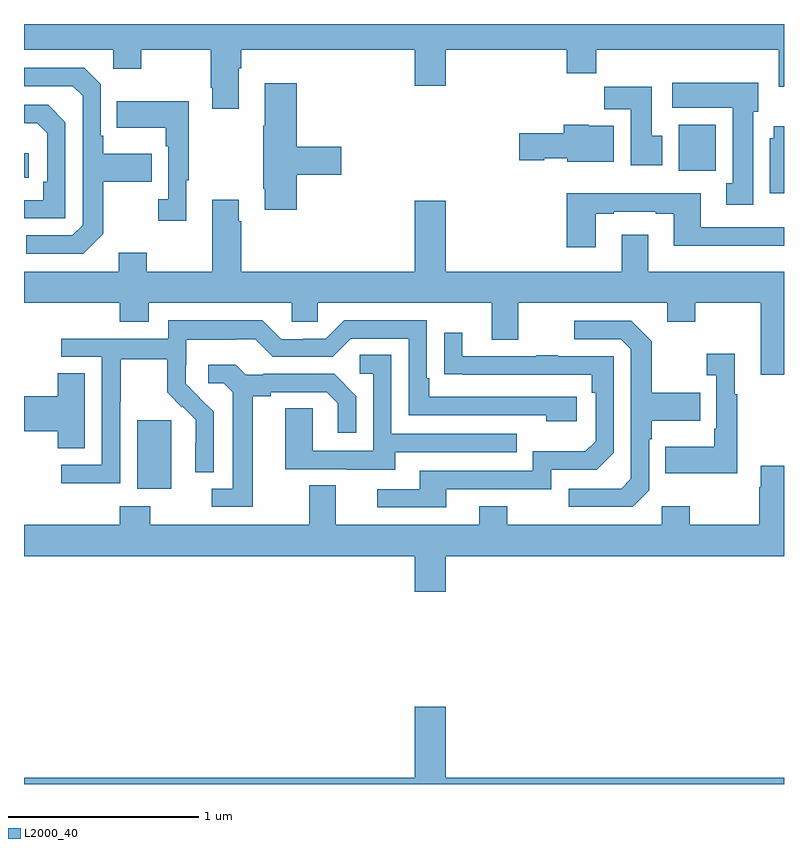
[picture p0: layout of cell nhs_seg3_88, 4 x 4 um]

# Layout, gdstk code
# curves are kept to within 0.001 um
import gdstk
lib = gdstk.Library(unit=1e-6, precision=1e-09)
def R(c, l, rs):  # rectangles x0, y0, x1, y1
    for r in rs: c.add(gdstk.rectangle(r[:2], r[2:], *l))
def P(c, l, *ps):  # polygons
    for p in ps: c.add(gdstk.Polygon(p, *l))
L2000_40 = (2000, 40)

nhs_seg3_88 = lib.new_cell('nhs_seg3_88')
R(nhs_seg3_88, L2000_40, [(115.595,683.954,115.774,684.315), (115,685.59,115.024,685.72), (118.445,685.628,118.642,685.87)])
P(nhs_seg3_88, L2000_40, [(116.131,686.168),(116.144,686.168),(116.144,686.264),(117.056,686.264),(117.056,686.076),(117.22,686.076),(117.22,686.264),(117.857,686.264),(117.857,686.14),(118.013,686.14),(118.013,686.264),(118.973,686.264),(118.973,686.07),(119,686.07),(119,686.4),(115,686.4),(115,686.264),(115.47,686.264),(115.47,686.165),(115.617,686.165),(115.617,686.264),(115.984,686.264),(115.984,686.065),(115.991,686.065),(115.991,685.953),(116.131,685.953)],
  [(115.417,685.297),(115.417,685.57),(115.673,685.57),(115.673,685.717),(115.417,685.717),(115.417,685.813),(115.404,685.813),(115.404,686.082),(115.317,686.169),(115,686.169),(115,686.073),(115.257,686.073),(115.308,686.022),(115.308,685.341),(115.254,685.287),(115.011,685.287),(115.011,685.191),(115.311,685.191)],
  [(118.837,685.938),(118.864,685.938),(118.864,686.092),(118.413,686.092),(118.413,685.958),(118.73,685.958),(118.73,685.562),(118.697,685.562),(118.697,685.449),(118.837,685.449)],
  [(116.435,685.607),(116.671,685.607),(116.671,685.754),(116.435,685.754),(116.435,686.089),(116.267,686.089),(116.267,685.865),(116.26,685.865),(116.26,685.534),(116.267,685.534),(116.267,685.422),(116.435,685.422)],
  [(118.36,685.812),(118.303,685.812),(118.303,686.071),(118.054,686.071),(118.054,685.952),(118.193,685.952),(118.193,685.656),(118.36,685.656)],
  [(115.855,685.577),(115.867,685.577),(115.867,685.993),(115.489,685.993),(115.489,685.853),(115.746,685.853),(115.746,685.757),(115.758,685.757),(115.758,685.478),(115.707,685.478),(115.707,685.365),(115.855,685.365)],
  [(115.218,685.884),(115.128,685.974),(115,685.974),(115,685.877),(115.069,685.877),(115.122,685.824),(115.122,685.57),(115.102,685.57),(115.102,685.473),(115,685.473),(115,685.377),(115.218,685.377)],
  [(118.105,685.864),(117.972,685.864),(117.972,685.87),(117.842,685.87),(117.842,685.824),(117.606,685.824),(117.606,685.682),(117.738,685.682),(117.738,685.694),(117.858,685.694),(117.858,685.676),(118.105,685.676)],
  [(119,685.861),(118.946,685.861),(118.946,685.8),(118.925,685.8),(118.925,685.508),(119,685.508)],
  [(118.009,685.401),(118.105,685.401),(118.105,685.413),(118.325,685.413),(118.325,685.401),(118.421,685.401),(118.421,685.232),(119,685.232),(119,685.329),(118.561,685.329),(118.561,685.51),(117.857,685.51),(117.857,685.224),(118.009,685.224)],
  [(119,685.096),(118.285,685.096),(118.285,685.291),(118.145,685.291),(118.145,685.096),(117.22,685.096),(117.22,685.471),(117.056,685.471),(117.056,685.096),(116.144,685.096),(116.144,685.361),(116.131,685.361),(116.131,685.474),(115.991,685.474),(115.991,685.096),(115.647,685.096),(115.647,685.195),(115.499,685.195),(115.499,685.096),(115,685.096),(115,684.932),(115.505,684.932),(115.505,684.833),(115.657,684.833),(115.657,684.932),(116.409,684.932),(116.409,684.834),(116.547,684.834),(116.547,684.932),(117.461,684.932),(117.461,684.738),(117.601,684.738),(117.601,684.932),(118.385,684.932),(118.385,684.833),(118.533,684.833),(118.533,684.932),(118.877,684.932),(118.877,684.555),(119,684.555)],
  [(115.506,684.412),(115.509,684.412),(115.509,684.636),(115.753,684.636),(115.753,684.461),(115.83,684.384),(115.833,684.387),(115.904,684.317),(115.904,684.194),(115.902,684.194),(115.902,684.04),(115.998,684.04),(115.998,684.358),(115.852,684.506),(115.852,684.603),(115.854,684.603),(115.854,684.737),(116.117,684.737),(116.117,684.741),(116.217,684.741),(116.31,684.648),(116.625,684.648),(116.721,684.744),(117.024,684.744),(117.024,684.342),(117.749,684.342),(117.749,684.308),(117.91,684.308),(117.91,684.438),(117.133,684.438),(117.133,684.535),(117.12,684.535),(117.12,684.84),(116.685,684.84),(116.589,684.744),(116.471,684.744),(116.471,684.741),(116.355,684.741),(116.255,684.841),(115.758,684.841),(115.758,684.744),(115.197,684.744),(115.197,684.648),(115.41,684.648),(115.41,684.081),(115.197,684.081),(115.197,683.983),(115.506,683.983)],
  [(118.29,683.946),(118.29,684.215),(118.303,684.215),(118.303,684.311),(118.559,684.311),(118.559,684.459),(118.303,684.459),(118.303,684.731),(118.197,684.837),(117.897,684.837),(117.897,684.741),(118.14,684.741),(118.194,684.687),(118.194,684.006),(118.143,683.955),(117.867,683.955),(117.867,683.859),(118.203,683.859)],
  [(117.223,683.952),(117.774,683.952),(117.774,684.054),(118.014,684.054),(118.104,684.144),(118.104,684.651),(117.809,684.651),(117.809,684.656),(117.697,684.656),(117.697,684.651),(117.307,684.651),(117.307,684.775),(117.211,684.775),(117.211,684.556),(117.988,684.555),(117.988,684.458),(118.008,684.458),(118.008,684.204),(117.955,684.151),(117.678,684.151),(117.678,684.048),(117.083,684.048),(117.083,683.952),(116.859,683.952),(116.859,683.856),(117.223,683.856)],
  [(118.753,684.451),(118.741,684.451),(118.741,684.664),(118.593,684.664),(118.593,684.551),(118.644,684.551),(118.644,684.271),(118.632,684.271),(118.632,684.175),(118.375,684.175),(118.375,684.035),(118.753,684.035)],
  [(116.953,684.147),(117.593,684.147),(117.593,684.243),(116.934,684.243),(116.934,684.659),(116.766,684.659),(116.766,684.558),(116.838,684.558),(116.838,684.153),(116.52,684.153),(116.52,684.377),(116.375,684.377),(116.375,684.057),(116.699,684.057),(116.699,684.053),(116.953,684.053)],
  [(116.203,684.44),(116.299,684.44),(116.299,684.462),(116.594,684.462),(116.651,684.405),(116.651,684.249),(116.748,684.249),(116.748,684.442),(116.632,684.558),(116.26,684.558),(116.26,684.555),(116.166,684.555),(116.114,684.607),(115.971,684.607),(115.971,684.51),(116.052,684.51),(116.099,684.463),(116.099,683.955),(115.989,683.955),(115.989,683.859),(116.203,683.859)],
  [(115.321,684.563),(115.178,684.563),(115.178,684.44),(115,684.44),(115,684.257),(115.178,684.257),(115.178,684.166),(115.321,684.166)],
  [(117.22,683.6),(119,683.6),(119,684.076),(118.877,684.076),(118.877,683.963),(118.87,683.963),(118.87,683.764),(118.503,683.764),(118.503,683.863),(118.356,683.863),(118.356,683.764),(117.543,683.764),(117.543,683.863),(117.395,683.863),(117.395,683.764),(116.641,683.764),(116.641,683.972),(116.501,683.972),(116.501,683.764),(115.665,683.764),(115.665,683.863),(115.505,683.863),(115.505,683.764),(115,683.764),(115,683.6),(117.056,683.6),(117.056,683.412),(117.22,683.412)],
  [(119,682.432),(117.22,682.432),(117.22,682.807),(117.056,682.807),(117.056,682.432),(115,682.432),(115,682.4),(119,682.4)])

lib.write_gds('nhs_seg3_88.gds')
